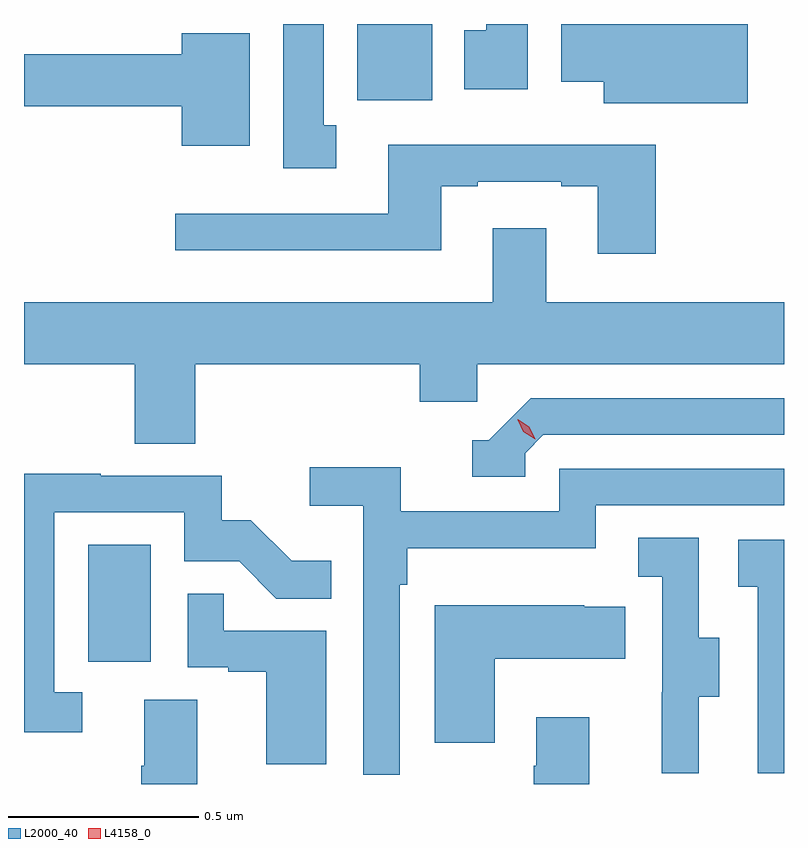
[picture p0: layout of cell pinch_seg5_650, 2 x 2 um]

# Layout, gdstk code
import gdstk
lib = gdstk.Library(unit=1e-6, precision=1e-09)
def R(c, l, rs):  # rectangles x0, y0, x1, y1
    for r in rs: c.add(gdstk.rectangle(r[:2], r[2:], *l))
def P(c, l, *ps):  # polygons
    for p in ps: c.add(gdstk.Polygon(p, *l))
L2000_40 = (2000, 40)
L4158_0 = (4158, 0)

pinch_seg5_650 = lib.new_cell('pinch_seg5_650')
R(pinch_seg5_650, L2000_40, [(1033.34,857.31,1033.504,857.617), (1034.048,858.788,1034.245,858.988)])
P(pinch_seg5_650, L2000_40, [(1034.497,858.988),(1034.387,858.988),(1034.387,858.972),(1034.33,858.972),(1034.33,858.816),(1034.497,858.816)],
  [(1033.993,858.722),(1033.96,858.722),(1033.96,858.988),(1033.853,858.988),(1033.853,858.609),(1033.993,858.609)],
  [(1035.076,858.988),(1034.585,858.988),(1034.585,858.836),(1034.696,858.836),(1034.696,858.779),(1035.076,858.779)],
  [(1033.765,858.964),(1033.586,858.964),(1033.586,858.908),(1033.171,858.908),(1033.171,858.772),(1033.586,858.772),(1033.586,858.668),(1033.765,858.668)],
  [(1034.834,858.67),(1034.129,858.67),(1034.129,858.489),(1033.569,858.489),(1033.569,858.392),(1034.269,858.392),(1034.269,858.561),(1034.365,858.561),(1034.365,858.573),(1034.585,858.573),(1034.585,858.561),(1034.681,858.561),(1034.681,858.384),(1034.834,858.384)],
  [(1035.171,858.256),(1034.545,858.256),(1034.545,858.451),(1034.405,858.451),(1034.405,858.256),(1033.171,858.256),(1033.171,858.092),(1033.462,858.092),(1033.462,857.884),(1033.622,857.884),(1033.622,858.092),(1034.213,858.092),(1034.213,857.994),(1034.364,857.994),(1034.364,858.092),(1035.171,858.092)],
  [(1034.49,857.859),(1034.538,857.907),(1035.171,857.907),(1035.171,858.003),(1034.505,858.003),(1034.394,857.892),(1034.351,857.892),(1034.351,857.796),(1034.49,857.796)],
  [(1034.16,857.513),(1034.18,857.513),(1034.18,857.609),(1034.676,857.609),(1034.676,857.721),(1035.171,857.721),(1035.171,857.817),(1034.58,857.817),(1034.58,857.706),(1034.162,857.706),(1034.162,857.822),(1033.923,857.822),(1033.923,857.72),(1034.064,857.72),(1034.064,857.013),(1034.16,857.013)],
  [(1033.324,857.229),(1033.251,857.229),(1033.251,857.703),(1033.593,857.703),(1033.593,857.574),(1033.737,857.574),(1033.835,857.476),(1033.979,857.476),(1033.979,857.575),(1033.875,857.575),(1033.768,857.682),(1033.692,857.682),(1033.692,857.799),(1033.373,857.799),(1033.373,857.804),(1033.171,857.804),(1033.171,857.124),(1033.324,857.124)],
  [(1034.947,857.218),(1035.001,857.218),(1035.001,857.373),(1034.946,857.373),(1034.946,857.636),(1034.787,857.636),(1034.787,857.533),(1034.85,857.533),(1034.85,857.229),(1034.849,857.229),(1034.849,857.016),(1034.947,857.016)],
  [(1035.171,857.631),(1035.051,857.631),(1035.051,857.507),(1035.102,857.507),(1035.102,857.016),(1035.171,857.016)],
  [(1033.966,857.391),(1033.697,857.391),(1033.697,857.489),(1033.602,857.489),(1033.602,857.295),(1033.709,857.295),(1033.709,857.283),(1033.808,857.283),(1033.808,857.04),(1033.966,857.04)],
  [(1034.41,857.318),(1034.753,857.318),(1034.753,857.455),(1034.645,857.455),(1034.645,857.458),(1034.252,857.458),(1034.252,857.097),(1034.41,857.097)],
  [(1033.627,857.21),(1033.487,857.21),(1033.487,857.036),(1033.48,857.036),(1033.48,856.988),(1033.627,856.988)],
  [(1034.659,857.164),(1034.519,857.164),(1034.519,857.036),(1034.512,857.036),(1034.512,856.988),(1034.659,856.988)])
P(pinch_seg5_650, L4158_0, [(1034.516,857.895),(1034.485,857.915),(1034.47,857.947),(1034.47,857.948),(1034.47,857.948),(1034.5,857.928),(1034.516,857.895),(1034.516,857.895)])

lib.write_gds('pinch_seg5_650.gds')
